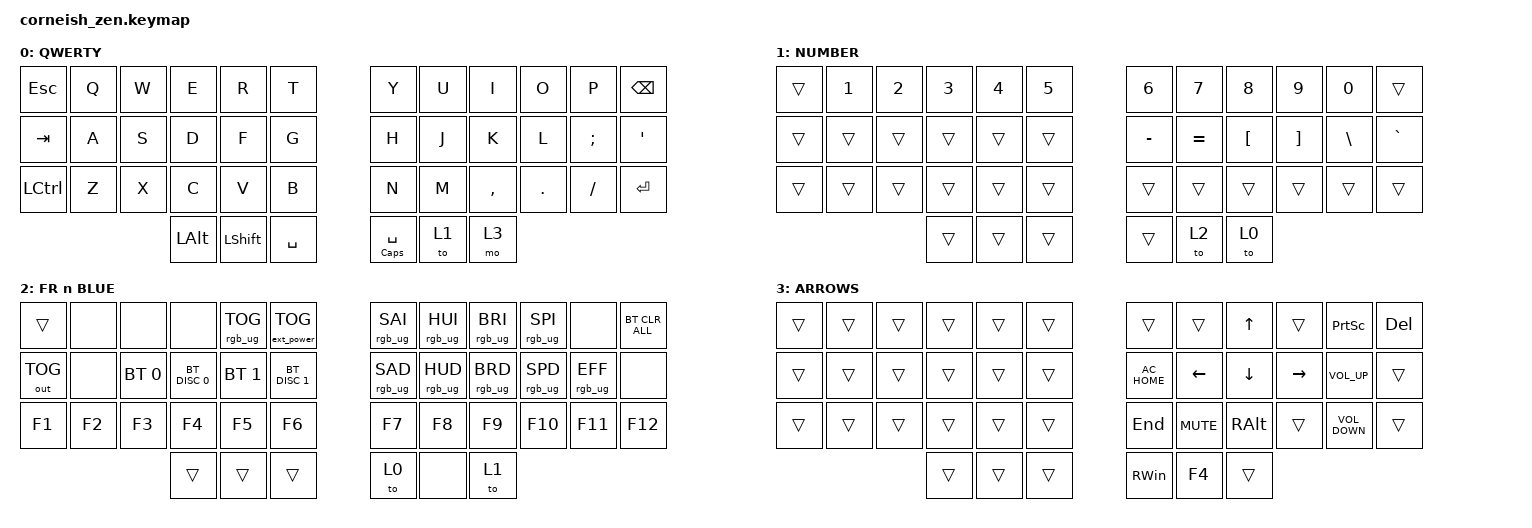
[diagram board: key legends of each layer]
/*
 * Copyright (c) 2020 The ZMK Contributors
 *
 * SPDX-License-Identifier: MIT
 */

#include <behaviors.dtsi>
#include <dt-bindings/zmk/bt.h>
#include <dt-bindings/zmk/ext_power.h>
#include <dt-bindings/zmk/keys.h>
#include <dt-bindings/zmk/outputs.h>
#include <dt-bindings/zmk/rgb.h>

/ {
    chosen {
        zmk,matrix_transform = &default_transform;

        // zmk,matrix_transform = &five_column_transform;
    };
};

/ {
    behaviors {
        td0: td0 {
            compatible = "zmk,behavior-tap-dance";
            label = "TD0";
            #binding-cells = <0>;
            bindings = <&kp LEFT_SHIFT>, <&kp CAPS>;
        };
    };

    keymap {
        compatible = "zmk,keymap";

        default_layer {
            display-name = "QWERTY";

            // --------------------------------------------------------------------------------
            // |  TAB |  Q  |  W  |  E  |  R  |  T  |   |  Y  |  U   |  I  |  O  |  P  | BKSP |
            // | CTRL |  A  |  S  |  D  |  F  |  G  |   |  H  |  J   |  K  |  L  |  ;  |  '   | 
            // | SHFT |  Z  |  X  |  C  |  V  |  B  |   |  N  |  M   |  ,  |  .  |  /  | ESC  |
            //                    | GUI | LWR | SPC |   | ENT | RSE  | ALT |

            bindings = <
&kp ESC    &kp Q  &kp W  &kp E         &kp R       &kp T        &kp Y           &kp U  &kp I      &kp O    &kp P     &kp BSPC
&kp TAB    &kp A  &kp S  &kp D         &kp F       &kp G        &kp H           &kp J  &kp K      &kp L    &kp SEMI  &kp SQT
&kp LCTRL  &kp Z  &kp X  &kp C         &kp V       &kp B        &kp N           &kp M  &kp COMMA  &kp DOT  &kp FSLH  &kp ENTER
                         &kp LEFT_ALT  &kp LSHIFT  &kp SPACE    &mt CAPS SPACE  &to 1  &mo 3
            >;
        };

        lower_layer {
            display-name = "NUMBER";

            // -----------------------------------------------------------------------------------------
            // |  TAB |  1  |  2  |  3  |  4  |  5  |   |  6  |  7  |  8  |  9  |  0  | BKSP |
            // | BTCLR| BT1 | BT2 | BT3 | BT4 | BT5 |   | LFT | DWN |  UP | RGT |     |      |
            // | SHFT |     |     |     |     |     |   |     |     |     |     |     |      |
            //                    | GUI |     | SPC |   | ENT |     | ALT |

            bindings = <
&trans  &kp N1  &kp N2  &kp N3  &kp N4  &kp N5    &kp N6     &kp N7     &kp N8            &kp N9             &kp N0         &trans
&trans  &trans  &trans  &trans  &trans  &trans    &kp MINUS  &kp EQUAL  &kp LEFT_BRACKET  &kp RIGHT_BRACKET  &kp BACKSLASH  &kp GRAVE
&trans  &trans  &trans  &trans  &trans  &trans    &trans     &trans     &trans            &trans             &trans         &trans
                        &trans  &trans  &trans    &trans     &to 2      &to 0
            >;
        };

        raise_layer {
            display-name = "FR n BLUE";

            // -----------------------------------------------------------------------------------------
            // |  TAB |  !  |  @  |  #  |  $  |  %  |   |  ^  |  &  |  *  |  (  |  )  | BKSP |
            // | CTRL |     |     |     |     |     |   |  -  |  =  |  [  |  ]  |  \  |  `   |
            // | SHFT |     |     |     |     |     |   |  _  |  +  |  {  |  }  | "|" |  ~   |
            //                    | GUI |     | SPC |   | ENT |     | ALT |

            bindings = <
&trans        &none   &none         &none          &rgb_ug RGB_TOG  &ext_power EP_TOG    &rgb_ug RGB_SAI  &rgb_ug RGB_HUI  &rgb_ug RGB_BRI  &rgb_ug RGB_SPI  &none            &bt BT_CLR_ALL
&out OUT_TOG  &none   &bt BT_SEL 0  &bt BT_DISC 0  &bt BT_SEL 1     &bt BT_DISC 1        &rgb_ug RGB_SAD  &rgb_ug RGB_HUD  &rgb_ug RGB_BRD  &rgb_ug RGB_SPD  &rgb_ug RGB_EFF  &none
&kp F1        &kp F2  &kp F3        &kp F4         &kp F5           &kp F6               &kp F7           &kp F8           &kp F9           &kp F10          &kp F11          &kp F12
                                    &trans         &trans           &trans               &to 0            &none            &to 1
            >;
        };

        layer_3 {
            display-name = "ARROWS";
            bindings = <
&trans  &trans  &trans  &trans  &trans  &trans    &trans         &trans      &kp UP_ARROW   &trans     &kp PRINTSCREEN    &kp DELETE
&trans  &trans  &trans  &trans  &trans  &trans    &kp C_AC_HOME  &kp LEFT    &kp DOWN       &kp RIGHT  &kp C_VOLUME_UP    &trans
&trans  &trans  &trans  &trans  &trans  &trans    &kp END        &kp C_MUTE  &kp RIGHT_ALT  &trans     &kp C_VOLUME_DOWN  &trans
                        &trans  &trans  &trans    &kp RWIN       &kp F4      &trans
            >;
        };
    };
};
